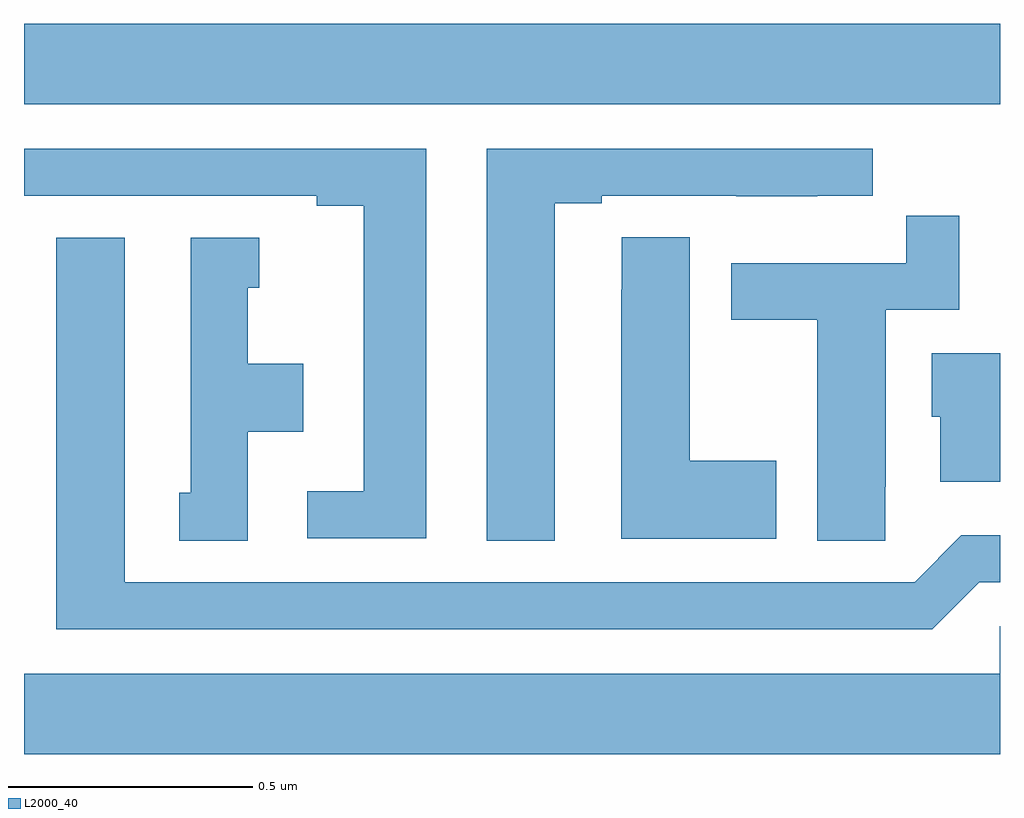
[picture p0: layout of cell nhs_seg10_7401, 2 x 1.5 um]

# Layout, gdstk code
import gdstk
lib = gdstk.Library(unit=1e-6, precision=1e-09)
def R(c, l, rs):  # rectangles x0, y0, x1, y1
    for r in rs: c.add(gdstk.rectangle(r[:2], r[2:], *l))
def P(c, l, *ps):  # polygons
    for p in ps: c.add(gdstk.Polygon(p, *l))
L2000_40 = (2000, 40)

nhs_seg10_7401 = lib.new_cell('nhs_seg10_7401')
R(nhs_seg10_7401, L2000_40, [(203,1314.968,205,1315.132)])
P(nhs_seg10_7401, L2000_40, [(204.088,1314.765),(204.184,1314.765),(204.184,1314.78),(204.46,1314.78),(204.46,1314.779),(204.626,1314.779),(204.626,1314.78),(204.739,1314.78),(204.739,1314.876),(203.948,1314.876),(203.948,1314.073),(204.088,1314.073)],
  [(203.824,1314.876),(203,1314.876),(203,1314.78),(203.6,1314.78),(203.6,1314.76),(203.696,1314.76),(203.696,1314.174),(203.58,1314.174),(203.58,1314.078),(203.824,1314.078)],
  [(204.765,1314.184),(204.766,1314.184),(204.766,1314.546),(204.917,1314.546),(204.917,1314.739),(204.808,1314.739),(204.808,1314.642),(204.449,1314.642),(204.449,1314.526),(204.626,1314.526),(204.626,1314.073),(204.765,1314.073)],
  [(204.541,1314.237),(204.364,1314.237),(204.364,1314.695),(204.225,1314.695),(204.225,1314.587),(204.224,1314.587),(204.224,1314.077),(204.541,1314.077)],
  [(204.957,1313.988),(205,1313.988),(205,1314.084),(204.921,1314.084),(204.825,1313.988),(203.206,1313.988),(203.206,1314.694),(203.066,1314.694),(203.066,1313.892),(204.861,1313.892)],
  [(203.458,1314.296),(203.572,1314.296),(203.572,1314.436),(203.458,1314.436),(203.458,1314.591),(203.482,1314.591),(203.482,1314.694),(203.342,1314.694),(203.342,1314.171),(203.318,1314.171),(203.318,1314.073),(203.458,1314.073)],
  [(205,1314.457),(204.86,1314.457),(204.86,1314.327),(204.878,1314.327),(204.878,1314.194),(205,1314.194)],
  [(205,1313.898),(204.999,1313.898),(204.999,1313.8),(203,1313.8),(203,1313.636),(205,1313.636)])

lib.write_gds('nhs_seg10_7401.gds')
